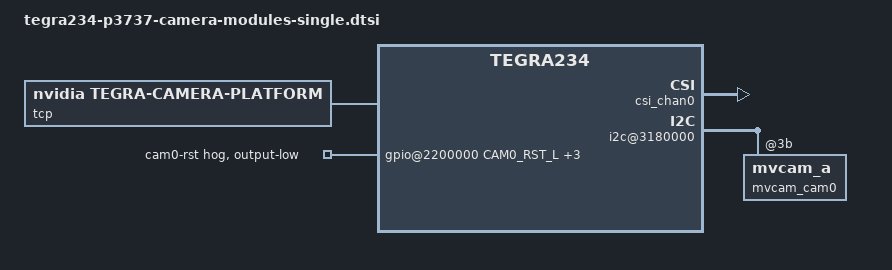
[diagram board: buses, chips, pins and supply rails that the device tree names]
/*
 * Copyright (c) 2022, NVIDIA CORPORATION.  All rights reserved.
 *
 * This program is free software; you can redistribute it and/or modify it
 * under the terms and conditions of the GNU General Public License,
 * version 2, as published by the Free Software Foundation.
 *
 * This program is distributed in the hope it will be useful, but WITHOUT
 * ANY WARRANTY; without even the implied warranty of MERCHANTABILITY or
 * FITNESS FOR A PARTICULAR PURPOSE.  See the GNU General Public License for
 * more details.
 *
 * You should have received a copy of the GNU General Public License
 * along with this program.  If not, see <http://www.gnu.org/licenses/>.
 */

/* These headers don't exist yet.
 * TODO: add below headers for corresponding sensor modules.
 * #include "tegra234-p3737-0000-camera-e3377-a00.dtsi"
 * #include "tegra234-p3737-0000-camera-e3326-a00.dtsi"
 * #include "tegra234-p3737-0000-camera-vivid.dtsi"
 * #include "tegra234-p3737-0000-camera-imx274-a00.dtsi"
 */
//xumm :enable veye camera, so we do not use overlay mechanism now
/*
#include "tegra234-p3737-0000-camera-e3331-a00.dtsi"
#include "tegra234-p3737-0000-camera-e3333-a00.dtsi"
#include "tegra234-p3737-0000-camera-imx185-a00.dtsi"
#include "tegra234-p3737-0000-camera-imx390-a00.dtsi"
#include "tegra234-p3737-0000-camera-imx274-dual.dtsi"
*/

#include "tegra234-p3737-0000-camera-veye_mvcam-a00-single.dtsi"

#define CAM0_RST_L	TEGRA234_MAIN_GPIO(H, 3)
#define CAM0_PWDN	TEGRA234_MAIN_GPIO(H, 6)
#define CAM1_RST_L	TEGRA234_MAIN_GPIO(AC, 1)
#define CAM1_PWDN	TEGRA234_MAIN_GPIO(AC, 0)

/ {
	tegra-camera-platform {
		/**
		* tpg_max_iso = <>;
		* Max iso bw for 6 streams of tpg
		* streams * nvcsi_freq * PG_bitrate / RG10 * BPP
		* 6 * 102Mhz * 32 bits/ 10 bits * 2 Bps
		* = 3916.8 MBps
		*/
		tpg_max_iso = <3916800>;
	};

	/* set camera gpio direction to output */
	gpio@2200000 {
		camera-control-output-low {
			gpio-hog;
			output-low;
			gpios = <CAM0_RST_L 0 CAM0_PWDN 0
				 CAM1_RST_L 0 CAM1_PWDN 0>;
			label = "cam0-rst", "cam0-pwdn",
				"cam1-rst", "cam1-pwdn";
		};
	};

	/* all cameras are enabled by default */
	capture_vi_base: tegra-capture-vi {
		ports {
			vi_port0: port@0 {
				status = "okay";
				vi_in0: endpoint {
					vc-id = <0>;
					status = "okay";
				};
			};
		};
	};

	host1x@13e00000 {
		csi_base: nvcsi@15a00000 {
			num-tpg-channels = <36>;
			csi_chan0: channel@0 {
				status = "okay";
				ports {
					csi_chan0_port0: port@0 {
						status = "okay";
						csi_in0: endpoint@0 {
							status = "okay";
						};
					};
					csi_chan0_port1: port@1 {
						status = "okay";
						csi_out0: endpoint@1 {
							status = "okay";
						};
					};
				};
			};
			
		};
	};

	i2c@3180000 {
        status = "okay";
            mvcam_cam0: mvcam_a@3b {
					status = "okay";
				};
	};

	tcp: tegra-camera-platform {
		compatible = "nvidia, tegra-camera-platform";
		modules {
			cam_module0: module0 {
				status = "okay";
				cam_module0_drivernode0: drivernode0 {
					status = "okay";
				};
				
			};
		};
	};
};
